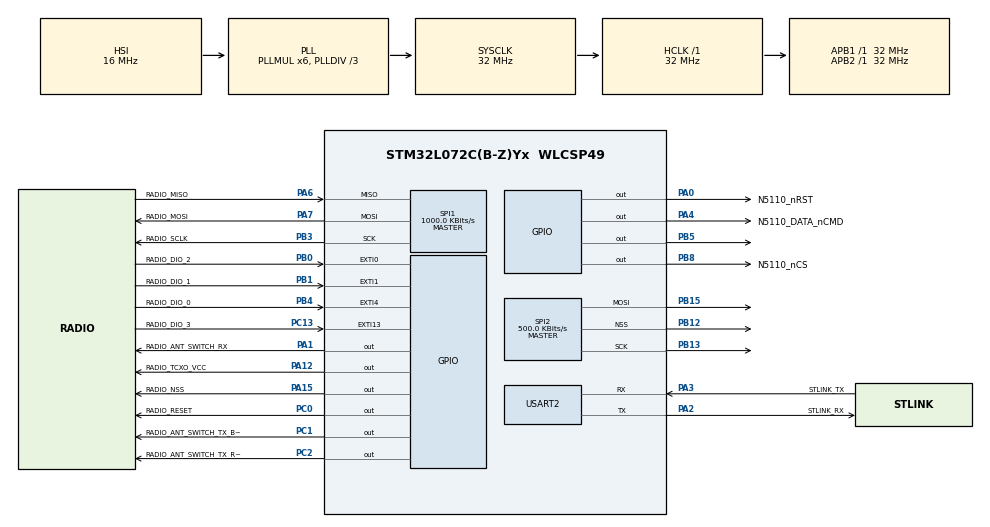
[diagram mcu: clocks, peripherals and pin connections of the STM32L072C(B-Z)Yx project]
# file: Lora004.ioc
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Dma.Request0=SPI2_TX
Dma.SPI2_TX.0.Direction=DMA_MEMORY_TO_PERIPH
Dma.SPI2_TX.0.Instance=DMA1_Channel5
Dma.SPI2_TX.0.MemDataAlignment=DMA_MDATAALIGN_BYTE
Dma.SPI2_TX.0.MemInc=DMA_MINC_ENABLE
Dma.SPI2_TX.0.Mode=DMA_NORMAL
Dma.SPI2_TX.0.PeriphDataAlignment=DMA_PDATAALIGN_BYTE
Dma.SPI2_TX.0.PeriphInc=DMA_PINC_DISABLE
Dma.SPI2_TX.0.Priority=DMA_PRIORITY_LOW
Mcu.Family=STM32L0
Mcu.Name=STM32L072C(B-Z)Yx
Mcu.Package=WLCSP49
NVIC.DMA1_Channel4_5_6_7_IRQn=true\:0\:0\:false\:false\:true\:false
NVIC.EXTI0_1_IRQn=true\:0\:0\:false\:false\:true\:true
NVIC.EXTI4_15_IRQn=true\:0\:0\:false\:false\:true\:true
NVIC.RTC_IRQn=true\:0\:0\:false\:false\:true\:true
NVIC.SPI2_IRQn=true\:0\:0\:false\:false\:true\:true
NVIC.USART2_IRQn=true\:0\:0\:false\:false\:true\:true
PA0.GPIO_Label=N5110_nRST
PA0.Signal=GPIO_Output
PA1.GPIO_Label=RADIO_ANT_SWITCH_RX
PA1.GPIO_Speed=GPIO_SPEED_FREQ_HIGH
PA1.PinState=GPIO_PIN_RESET
PA1.Signal=GPIO_Output
PA12.GPIO_Label=RADIO_TCXO_VCC
PA12.GPIO_Speed=GPIO_SPEED_FREQ_HIGH
PA12.Signal=GPIO_Output
PA15.GPIO_Label=RADIO_NSS
PA15.GPIO_Speed=GPIO_SPEED_FREQ_HIGH
PA15.Signal=GPIO_Output
PA2.GPIO_Label=STLINK_RX
PA2.Mode=Asynchronous
PA2.Signal=USART2_TX
PA3.GPIO_Label=STLINK_TX
PA3.Mode=Asynchronous
PA3.Signal=USART2_RX
PA4.GPIO_Label=N5110_DATA_nCMD
PA4.Signal=GPIO_Output
PA6.GPIO_Label=RADIO_MISO
PA6.Mode=Full_Duplex_Master
PA6.Signal=SPI1_MISO
PA7.GPIO_Label=RADIO_MOSI
PA7.Mode=Full_Duplex_Master
PA7.Signal=SPI1_MOSI
PB0.GPIO_Label=RADIO_DIO_2
PB0.Signal=GPXTI0
PB1.GPIO_Label=RADIO_DIO_1
PB1.Signal=GPXTI1
PB12.GPIO_Speed=GPIO_SPEED_FREQ_LOW
PB12.Mode=NSS_Signal_Hard_Output
PB12.Signal=SPI2_NSS
PB13.GPIO_Speed=GPIO_SPEED_FREQ_LOW
PB13.Mode=TX_Only_Simplex_Unidirect_Master
PB13.Signal=SPI2_SCK
PB14.Signal=SPI2_MISO
PB15.GPIO_Speed=GPIO_SPEED_FREQ_LOW
PB15.Mode=TX_Only_Simplex_Unidirect_Master
PB15.Signal=SPI2_MOSI
PB3.GPIO_Label=RADIO_SCLK
PB3.Mode=Full_Duplex_Master
PB3.Signal=SPI1_SCK
PB4.GPIO_Label=RADIO_DIO_0
PB4.Signal=GPXTI4
PB5.Signal=GPIO_Output
PB8.GPIO_Label=N5110_nCS
PB8.Signal=GPIO_Output
PC0.GPIO_Label=RADIO_RESET
PC0.GPIO_Speed=GPIO_SPEED_FREQ_HIGH
PC0.Signal=GPIO_Output
PC1.GPIO_Label=RADIO_ANT_SWITCH_TX_BOOST
PC1.GPIO_Speed=GPIO_SPEED_FREQ_HIGH
PC1.Signal=GPIO_Output
PC13.GPIO_Label=RADIO_DIO_3
PC13.Signal=GPXTI13
PC2.GPIO_Label=RADIO_ANT_SWITCH_TX_RFO
PC2.GPIO_Speed=GPIO_SPEED_FREQ_HIGH
PC2.Signal=GPIO_Output
PH0-OSC_IN.Signal=RCC_OSC_IN
PH1-OSC_OUT.Signal=RCC_OSC_OUT
ProjectManager.HeapSize=0x200
ProjectManager.StackSize=0x400
ProjectManager.TargetToolchain=TrueSTUDIO
RCC.AHBFreq_Value=32000000
RCC.APB1Freq_Value=32000000
RCC.APB1TimFreq_Value=32000000
RCC.APB2Freq_Value=32000000
RCC.APB2TimFreq_Value=32000000
RCC.HCLKFreq_Value=32000000
RCC.HSE_VALUE=8000000
RCC.HSI16_VALUE=16000000
RCC.HSI48_VALUE=48000000
RCC.HSI_VALUE=16000000
RCC.LSE_VALUE=32768
RCC.MSI_VALUE=2097000
RCC.PLLDIV=RCC_PLLDIV_3
RCC.PLLMUL=RCC_PLLMUL_6
RCC.SYSCLKFreq_VALUE=32000000
RCC.SYSCLKSource=RCC_SYSCLKSOURCE_PLLCLK
RCC.VCOOutputFreq_Value=96000000
RTC.Alarm-Alarm\ A=RTC_ALARM_A
RTC.AlarmSubSecondMask-Alarm\ A=RTC_ALARMSUBSECONDMASK_NONE
RTC.AsynchPrediv=31
RTC.Format=RTC_FORMAT_BIN
RTC.SynchPrediv=1023
SPI1.BaudRatePrescaler=SPI_BAUDRATEPRESCALER_32
SPI1.CalculateBaudRate=1000.0 KBits/s
SPI1.Direction=SPI_DIRECTION_2LINES
SPI1.Mode=SPI_MODE_MASTER
SPI1.VirtualType=VM_MASTER
SPI2.BaudRatePrescaler=SPI_BAUDRATEPRESCALER_64
SPI2.CalculateBaudRate=500.0 KBits/s
SPI2.Direction=SPI_DIRECTION_2LINES
SPI2.Mode=SPI_MODE_MASTER
SPI2.VirtualNSS=VM_NSSHARD
SPI2.VirtualType=VM_MASTER
USART2.VirtualMode-Asynchronous=VM_ASYNC
VP_RTC_VS_RTC_Activate.Mode=RTC_Enabled
VP_RTC_VS_RTC_Alarm_A_Intern.Mode=Alarm A
VP_RTC_VS_RTC_Calendar.Mode=RTC_Calendar
board=B-L072Z-LRWAN1

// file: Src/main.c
/* USER CODE BEGIN Header */
/**
  ******************************************************************************
  * @file           : main.c
  * @brief          : Main program body
  ******************************************************************************
  ** This notice applies to any and all portions of this file
  * that are not between comment pairs USER CODE BEGIN and
  * USER CODE END. Other portions of this file, whether
  * inserted by the user or by software development tools
  * are owned by their respective copyright owners.
  *
  * COPYRIGHT(c) 2019 STMicroelectronics
  *
  * Redistribution and use in source and binary forms, with or without modification,
  * are permitted provided that the following conditions are met:
  *   1. Redistributions of source code must retain the above copyright notice,
  *      this list of conditions and the following disclaimer.
  *   2. Redistributions in binary form must reproduce the above copyright notice,
  *      this list of conditions and the following disclaimer in the documentation
  *      and/or other materials provided with the distribution.
  *   3. Neither the name of STMicroelectronics nor the names of its contributors
  *      may be used to endorse or promote products derived from this software
  *      without specific prior written permission.
  *
  * THIS SOFTWARE IS PROVIDED BY THE COPYRIGHT HOLDERS AND CONTRIBUTORS "AS IS"
  * AND ANY EXPRESS OR IMPLIED WARRANTIES, INCLUDING, BUT NOT LIMITED TO, THE
  * IMPLIED WARRANTIES OF MERCHANTABILITY AND FITNESS FOR A PARTICULAR PURPOSE ARE
  * DISCLAIMED. IN NO EVENT SHALL THE COPYRIGHT HOLDER OR CONTRIBUTORS BE LIABLE
  * FOR ANY DIRECT, INDIRECT, INCIDENTAL, SPECIAL, EXEMPLARY, OR CONSEQUENTIAL
  * DAMAGES (INCLUDING, BUT NOT LIMITED TO, PROCUREMENT OF SUBSTITUTE GOODS OR
  * SERVICES; LOSS OF USE, DATA, OR PROFITS; OR BUSINESS INTERRUPTION) HOWEVER
  * CAUSED AND ON ANY THEORY OF LIABILITY, WHETHER IN CONTRACT, STRICT LIABILITY,
  * OR TORT (INCLUDING NEGLIGENCE OR OTHERWISE) ARISING IN ANY WAY OUT OF THE USE
  * OF THIS SOFTWARE, EVEN IF ADVISED OF THE POSSIBILITY OF SUCH DAMAGE.
  *
  ******************************************************************************
  */
/* USER CODE END Header */

#include "main.h"
#include "dma.h"
#include "rtc.h"
#include "spi.h"
#include "usart.h"
#include "gpio.h"

/* USER CODE BEGIN Includes */
#include <stdlib.h>
#include <string.h>

#include "N5110_LCD/N5110_lcd.h"
/* USER CODE END Includes */

void SystemClock_Config(void);

/* USER CODE BEGIN 0 */
void GPIO_ResetPin(void* port, uint32_t pin)
{
	HAL_GPIO_WritePin(port, pin, 0);
}
void GPIO_SetPin(void* port, uint32_t pin)
{
	HAL_GPIO_WritePin(port, pin, 1);
}
void SPI_Transmit(uint8_t* data, uint32_t length)
{
	HAL_SPI_Transmit(&hspi1, data, length, 10);
}
void SPI_Transmit_DMA(uint8_t* data, uint32_t length)
{
	HAL_SPI_Transmit_DMA(&hspi1, data, length);
}
/* USER CODE END 0 */

int main(void)
{

  /* MCU Configuration--------------------------------------------------------*/

  /* Reset of all peripherals, Initializes the Flash interface and the Systick. */
  HAL_Init();

  /* Configure the system clock */
  SystemClock_Config();

  /* Initialize all configured peripherals */
  MX_GPIO_Init();
  MX_DMA_Init();
  MX_RTC_Init();
  MX_SPI1_Init();
  MX_SPI2_Init();
  MX_USART2_UART_Init();
  /* USER CODE BEGIN 2 */

  AT_N5110_LCD_handle *lcdHandle = AT_N5110LCD_open();
  lcdHandle->functions.delay_ms = HAL_Delay;
  lcdHandle->functions.get_time_ms = HAL_GetTick;
  lcdHandle->functions.reset_gpio = GPIO_ResetPin;
  lcdHandle->functions.set_gpio = GPIO_SetPin;
  lcdHandle->functions.spi_transmit = SPI_Transmit;
  lcdHandle->functions.spi_transmit_dma = SPI_Transmit_DMA;
  lcdHandle->pins.DCPort = N5110_DATA_nCMD_GPIO_Port;
  lcdHandle->pins.DCPin = N5110_DATA_nCMD_Pin;
  lcdHandle->pins.RstPort = N5110_nRST_GPIO_Port;
  lcdHandle->pins.RstPin = N5110_nRST_Pin;
  lcdHandle->pins.csPort = N5110_nCS_GPIO_Port;
  lcdHandle->pins.csPin = N5110_nCS_Pin;
  AT_N5110LCD_init(lcdHandle);

  uint8_t x = 0;
  uint8_t y = 0;

  int8_t kay = 84;

  /* USER CODE END 2 */

  /* Infinite loop */
  /* USER CODE BEGIN WHILE */
  while (1)
  {

	 // buffer_string("merhaba Cem!", 12, 5, 20);

	  uint8_t text[] = "DSPLAB"; AT_N5110LCD_print_string(lcdHandle, &FontMenlo32, (uint8_t*)text, sizeof(text)-1, 1, 5);
	 /* AT_N5110LCD_print_string(lcdHandle, &FontMenlo32, (uint8_t*)text, sizeof(text)-1, kay--, 5);

	  AT_N5110LCD_draw_pixel(lcdHandle, x, y, 1);
	  uint8_t pixel;
	  AT_N5110LCD_get_pixel(lcdHandle, x, y, &pixel);
	  AT_N5110LCD_get_pixel(lcdHandle, x+1, y+1, &pixel);
	  AT_N5110LCD_get_pixel(lcdHandle, x+1, y+1, &pixel);

	  pixel += x;
	  x++;
	  y++;
	  if (x>=84)
		  x=0;
	  if (y>=48)
		  y=0;

	  AT_N5110LCD_update_display(lcdHandle);*/
	  HAL_GPIO_TogglePin(GPIOB, GPIO_PIN_5);
	  HAL_Delay(300);

  }
  /* USER CODE END 2 */

  /* Infinite loop */
  /* USER CODE BEGIN WHILE */
  while (1)
  {

	  HAL_GPIO_TogglePin(GPIOB, GPIO_PIN_5);
	  HAL_Delay(250);
    /* USER CODE END WHILE */

  }
}

void SystemClock_Config(void)
{
  RCC_OscInitTypeDef RCC_OscInitStruct = {0};
  RCC_ClkInitTypeDef RCC_ClkInitStruct = {0};
  RCC_PeriphCLKInitTypeDef PeriphClkInit = {0};

  /**Configure the main internal regulator output voltage
  */
  __HAL_PWR_VOLTAGESCALING_CONFIG(PWR_REGULATOR_VOLTAGE_SCALE1);
  /**Initializes the CPU, AHB and APB busses clocks
  */
  RCC_OscInitStruct.OscillatorType = RCC_OSCILLATORTYPE_HSI|RCC_OSCILLATORTYPE_LSI;
  RCC_OscInitStruct.HSIState = RCC_HSI_ON;
  RCC_OscInitStruct.HSICalibrationValue = RCC_HSICALIBRATION_DEFAULT;
  RCC_OscInitStruct.LSIState = RCC_LSI_ON;
  RCC_OscInitStruct.PLL.PLLState = RCC_PLL_ON;
  RCC_OscInitStruct.PLL.PLLSource = RCC_PLLSOURCE_HSI;
  RCC_OscInitStruct.PLL.PLLMUL = RCC_PLLMUL_6;
  RCC_OscInitStruct.PLL.PLLDIV = RCC_PLLDIV_3;
  if (HAL_RCC_OscConfig(&RCC_OscInitStruct) != HAL_OK)
  {
    Error_Handler();
  }
  /**Initializes the CPU, AHB and APB busses clocks
  */
  RCC_ClkInitStruct.ClockType = RCC_CLOCKTYPE_HCLK|RCC_CLOCKTYPE_SYSCLK
                              |RCC_CLOCKTYPE_PCLK1|RCC_CLOCKTYPE_PCLK2;
  RCC_ClkInitStruct.SYSCLKSource = RCC_SYSCLKSOURCE_PLLCLK;
  RCC_ClkInitStruct.AHBCLKDivider = RCC_SYSCLK_DIV1;
  RCC_ClkInitStruct.APB1CLKDivider = RCC_HCLK_DIV1;
  RCC_ClkInitStruct.APB2CLKDivider = RCC_HCLK_DIV1;

  if (HAL_RCC_ClockConfig(&RCC_ClkInitStruct, FLASH_LATENCY_1) != HAL_OK)
  {
    Error_Handler();
  }
  PeriphClkInit.PeriphClockSelection = RCC_PERIPHCLK_USART2|RCC_PERIPHCLK_RTC;
  PeriphClkInit.Usart2ClockSelection = RCC_USART2CLKSOURCE_PCLK1;
  PeriphClkInit.RTCClockSelection = RCC_RTCCLKSOURCE_LSI;
  if (HAL_RCCEx_PeriphCLKConfig(&PeriphClkInit) != HAL_OK)
  {
    Error_Handler();
  }
}

void Error_Handler(void)
{
}

/************************ (C) COPYRIGHT STMicroelectronics *****END OF FILE****/
